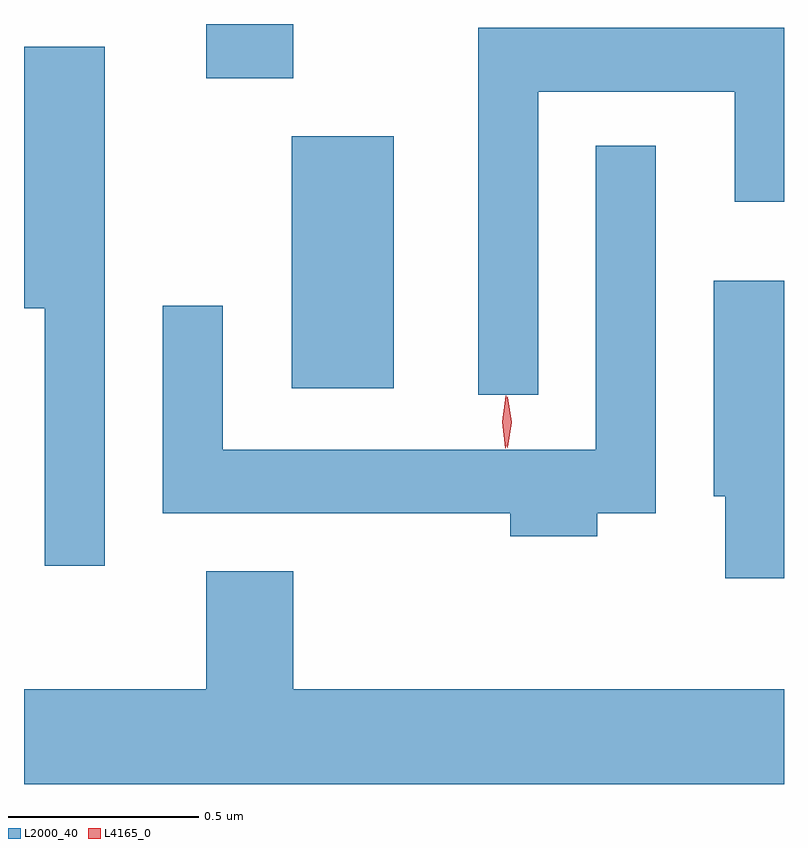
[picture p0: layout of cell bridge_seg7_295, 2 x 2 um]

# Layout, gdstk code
import gdstk
lib = gdstk.Library(unit=1e-6, precision=1e-09)
def R(c, l, rs):  # rectangles x0, y0, x1, y1
    for r in rs: c.add(gdstk.rectangle(r[:2], r[2:], *l))
def P(c, l, *ps):  # polygons
    for p in ps: c.add(gdstk.Polygon(p, *l))
L2000_40 = (2000, 40)
L4165_0 = (4165, 0)

bridge_seg7_295 = lib.new_cell('bridge_seg7_295')
R(bridge_seg7_295, L2000_40, [(1341.916,1779.756,1342.184,1780.419), (1341.691,1780.571,1341.919,1780.714)])
P(bridge_seg7_295, L2000_40, [(1342.564,1780.536),(1343.081,1780.536),(1343.081,1780.246),(1343.211,1780.246),(1343.211,1780.704),(1342.406,1780.704),(1342.406,1779.738),(1342.564,1779.738)],
  [(1341.424,1780.654),(1341.211,1780.654),(1341.211,1779.966),(1341.266,1779.966),(1341.266,1779.288),(1341.424,1779.288)],
  [(1342.719,1779.426),(1342.874,1779.426),(1342.874,1780.393),(1342.716,1780.393),(1342.716,1779.594),(1341.734,1779.594),(1341.734,1779.973),(1341.576,1779.973),(1341.576,1779.426),(1342.491,1779.426),(1342.491,1779.366),(1342.719,1779.366)],
  [(1343.211,1780.039),(1343.026,1780.039),(1343.026,1779.471),(1343.056,1779.471),(1343.056,1779.256),(1343.211,1779.256)],
  [(1343.211,1778.964),(1341.919,1778.964),(1341.919,1779.274),(1341.691,1779.274),(1341.691,1778.964),(1341.211,1778.964),(1341.211,1778.714),(1343.211,1778.714)])
P(bridge_seg7_295, L4165_0, [(1342.478,1779.597),(1342.469,1779.667),(1342.479,1779.736),(1342.48,1779.736),(1342.48,1779.736),(1342.489,1779.667),(1342.479,1779.597),(1342.479,1779.597)],
  [(1342.484,1779.599),(1342.483,1779.6),(1342.474,1779.666),(1342.483,1779.732),(1342.484,1779.733),(1342.484,1779.732),(1342.494,1779.666),(1342.484,1779.6)])

lib.write_gds('bridge_seg7_295.gds')
